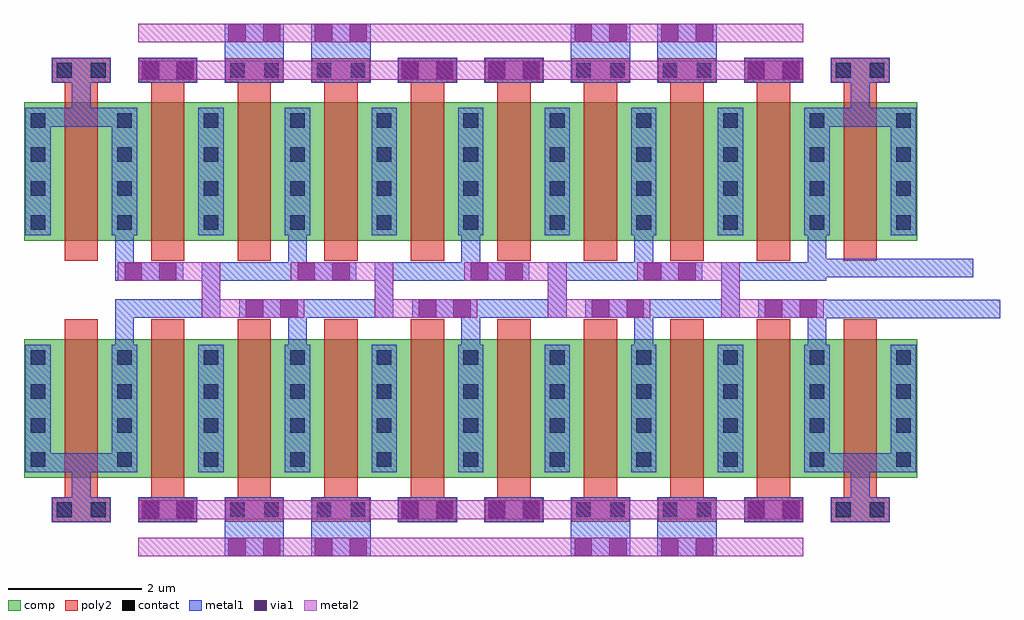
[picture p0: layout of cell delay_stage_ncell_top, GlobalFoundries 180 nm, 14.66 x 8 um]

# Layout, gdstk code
from math import pi, radians
import gdstk
lib = gdstk.Library(unit=1e-6, precision=5e-09)
def R(c, l, rs):  # rectangles x0, y0, x1, y1
    for r in rs: c.add(gdstk.rectangle(r[:2], r[2:], *l))
def A(c, l, x, y, w, h, nx, ny, dx, dy):  # array of equal rectangles
    R(c, l, [(x+i*dx, y+j*dy, x+i*dx+w, y+j*dy+h) for i in range(nx) for j in range(ny)])
comp = (22, 0)
poly2 = (30, 0)
contact = (33, 0)
metal1 = (34, 0)
via1 = (35, 0)
metal2 = (36, 0)

delay_stage_ncell_1_1_2 = lib.new_cell('delay_stage_ncell_1$1$2')
R(delay_stage_ncell_1_1_2, comp, [(0,0.3,0.42,2.38), (0.42,0.3,1.3,2.38), (1.3,0.3,1.72,2.38)])
R(delay_stage_ncell_1_1_2, poly2, [(0.61,0,1.11,2.68)])
A(delay_stage_ncell_1_1_2, contact, 0.1, 0.465, 0.22, 0.22, 1, 4, 0, 0.51)
A(delay_stage_ncell_1_1_2, contact, 1.4, 0.465, 0.22, 0.22, 1, 4, 0, 0.51)
R(delay_stage_ncell_1_1_2, metal1, [(0.02,0.385,0.4,2.295), (1.32,0.385,1.7,2.295)])

delay_stage_ncell_4_1 = lib.new_cell('delay_stage_ncell_4$1')
A(delay_stage_ncell_4_1, poly2, 0.425, 2.675, 0.87, 0.36, 4, 1, 1.3, 0)
R(delay_stage_ncell_4_1, contact, [(0.495,2.745,0.715,2.965), (1.005,2.745,1.225,2.965), (1.795,2.745,2.015,2.965), (2.305,2.745,2.525,2.965), (3.095,2.745,3.315,2.965), (3.605,2.745,3.825,2.965), (4.395,2.745,4.615,2.965), (4.905,2.745,5.125,2.965)])
A(delay_stage_ncell_4_1, metal1, 0.415, 2.665, 0.89, 0.38, 4, 1, 1.3, 0)
delay_stage_ncell_4_1.add(gdstk.Reference(delay_stage_ncell_1_1_2, (0,-0.005)))
delay_stage_ncell_4_1.add(gdstk.Reference(delay_stage_ncell_1_1_2, (1.3,-0.005)))
delay_stage_ncell_4_1.add(gdstk.Reference(delay_stage_ncell_1_1_2, (2.6,-0.005)))
delay_stage_ncell_4_1.add(gdstk.Reference(delay_stage_ncell_1_1_2, (3.9,-0.005)))

delay_stage_ncell_4_2 = lib.new_cell('delay_stage_ncell_4_2')
R(delay_stage_ncell_4_2, metal1, [(1.715,0,2.605,0.51), (3.015,0,3.905,0.51), (1.715,7.49,2.605,8), (3.015,7.49,3.905,8)])
R(delay_stage_ncell_4_2, via1, [(1.77,0.01,2.03,0.27), (2.29,0.01,2.55,0.27), (3.07,0.01,3.33,0.27), (3.59,0.01,3.85,0.27), (0.47,0.57,0.73,0.83), (0.99,0.57,1.25,0.83), (4.37,0.57,4.63,0.83), (4.89,0.57,5.15,0.83), (2.03,3.59,2.29,3.85), (2.55,3.59,2.81,3.85), (4.63,3.59,4.89,3.85), (5.15,3.59,5.41,3.85), (0.21,4.15,0.47,4.41), (0.73,4.15,0.99,4.41), (2.81,4.15,3.07,4.41), (3.33,4.15,3.59,4.41), (0.47,7.17,0.73,7.43), (0.99,7.17,1.25,7.43), (4.37,7.17,4.63,7.43), (4.89,7.17,5.15,7.43), (1.77,7.73,2.03,7.99), (2.29,7.73,2.55,7.99), (3.07,7.73,3.33,7.99), (3.59,7.73,3.85,7.99)])
delay_stage_ncell_4_2.add(gdstk.FlexPath([(2.81,4.825),(2.81,4.42)], 0.28, ends="flush", simple_path=True, layer=34, datatype=0))  # metal1
delay_stage_ncell_4_2.add(gdstk.FlexPath([(2.81,3.175),(2.81,3.58)], 0.28, ends="flush", simple_path=True, layer=34, datatype=0))  # metal1
delay_stage_ncell_4_2.add(gdstk.FlexPath([(0.21,3.175),(0.21,3.58)], 0.28, ends="flush", simple_path=True, layer=34, datatype=0))  # metal1
delay_stage_ncell_4_2.add(gdstk.FlexPath([(0.21,4.825),(0.21,4.42)], 0.28, ends="flush", simple_path=True, layer=34, datatype=0))  # metal1
delay_stage_ncell_4_2.add(gdstk.FlexPath([(2.91,4.28),(1.51,4.28),(1.51,3.72),(0.07,3.72)], 0.28, ends="flush", simple_path=True, layer=34, datatype=0))  # metal1
delay_stage_ncell_4_2.add(gdstk.FlexPath([(1.09,4.28),(0.07,4.28)], 0.28, ends="flush", simple_path=True, layer=34, datatype=0))  # metal1
delay_stage_ncell_4_2.add(gdstk.FlexPath([(5.41,3.175),(5.41,3.58)], 0.28, ends="flush", simple_path=True, layer=34, datatype=0))  # metal1
delay_stage_ncell_4_2.add(gdstk.FlexPath([(5.55,4.28),(4.11,4.28),(4.11,3.72),(2.71,3.72)], 0.28, ends="flush", simple_path=True, layer=34, datatype=0))  # metal1
delay_stage_ncell_4_2.add(gdstk.FlexPath([(3.69,4.28),(2.71,4.28)], 0.28, ends="flush", simple_path=True, layer=34, datatype=0))  # metal1
delay_stage_ncell_4_2.add(gdstk.FlexPath([(5.41,4.825),(5.41,4.42)], 0.28, ends="flush", simple_path=True, layer=34, datatype=0))  # metal1
delay_stage_ncell_4_2.add(gdstk.FlexPath([(2.81,3.175),(2.81,3.58)], 0.28, ends="flush", simple_path=True, layer=34, datatype=0))  # metal1
delay_stage_ncell_4_2.add(gdstk.FlexPath([(5.55,3.72),(4.53,3.72)], 0.28, ends="flush", simple_path=True, layer=34, datatype=0))  # metal1
delay_stage_ncell_4_2.add(gdstk.FlexPath([(2.81,4.825),(2.81,4.42)], 0.28, ends="flush", simple_path=True, layer=34, datatype=0))  # metal1
delay_stage_ncell_4_2.add(gdstk.FlexPath([(2.91,3.72),(1.93,3.72)], 0.28, ends="flush", simple_path=True, layer=34, datatype=0))  # metal1
delay_stage_ncell_4_2.add(gdstk.FlexPath([(2.91,3.72),(1.51,3.72),(1.51,4.28),(0.11,4.28)], 0.28, ends="flush", simple_path=True, layer=36, datatype=0))  # metal2
delay_stage_ncell_4_2.add(gdstk.FlexPath([(5.51,3.72),(4.11,3.72),(4.11,4.28),(2.71,4.28)], 0.28, ends="flush", simple_path=True, layer=36, datatype=0))  # metal2
delay_stage_ncell_4_2.add(gdstk.FlexPath([(5.41,0.7),(0.415,0.7)], 0.28, ends="flush", simple_path=True, layer=36, datatype=0))  # metal2
delay_stage_ncell_4_2.add(gdstk.FlexPath([(5.41,0.14),(0.415,0.14)], 0.28, ends="flush", simple_path=True, layer=36, datatype=0))  # metal2
delay_stage_ncell_4_2.add(gdstk.FlexPath([(5.41,7.3),(0.415,7.3)], 0.28, ends="flush", simple_path=True, layer=36, datatype=0))  # metal2
delay_stage_ncell_4_2.add(gdstk.FlexPath([(5.41,7.86),(0.415,7.86)], 0.28, ends="flush", simple_path=True, layer=36, datatype=0))  # metal2
delay_stage_ncell_4_2.add(gdstk.Reference(delay_stage_ncell_4_1, (0,4.445)))
delay_stage_ncell_4_2.add(gdstk.Reference(delay_stage_ncell_4_1, (0,3.555), x_reflection=True))

delay_stage_ncell_1_1_1 = lib.new_cell('delay_stage_ncell_1$1$1')
R(delay_stage_ncell_1_1_1, comp, [(0,0.3,0.42,2.38), (0.42,0.3,1.3,2.38), (1.3,0.3,1.72,2.38)])
R(delay_stage_ncell_1_1_1, poly2, [(0.61,0,1.11,2.68)])
A(delay_stage_ncell_1_1_1, contact, 0.1, 0.465, 0.22, 0.22, 1, 4, 0, 0.51)
A(delay_stage_ncell_1_1_1, contact, 1.4, 0.465, 0.22, 0.22, 1, 4, 0, 0.51)
R(delay_stage_ncell_1_1_1, metal1, [(0.02,0.385,0.4,2.295), (1.32,0.385,1.7,2.295)])

delay_stage_ncell_1_2 = lib.new_cell('delay_stage_ncell_1_2')
R(delay_stage_ncell_1_2, poly2, [(0.425,0.01,1.295,0.37), (0.425,6.61,1.295,6.97)])
R(delay_stage_ncell_1_2, contact, [(0.495,0.08,0.715,0.3), (1.005,0.08,1.225,0.3), (0.495,6.68,0.715,6.9), (1.005,6.68,1.225,6.9)])
R(delay_stage_ncell_1_2, metal1, [(0.415,0,1.305,0.38), (0.415,6.6,1.305,6.98)])
delay_stage_ncell_1_2.add(gdstk.FlexPath([(0.4,6.085),(1.32,6.085)], 0.28, ends="flush", simple_path=True, layer=34, datatype=0))  # metal1
delay_stage_ncell_1_2.add(gdstk.FlexPath([(0.86,6.6),(0.86,6.225)], 0.28, ends="flush", simple_path=True, layer=34, datatype=0))  # metal1
delay_stage_ncell_1_2.add(gdstk.FlexPath([(0.4,0.895),(1.32,0.895)], 0.28, ends="flush", simple_path=True, layer=34, datatype=0))  # metal1
delay_stage_ncell_1_2.add(gdstk.FlexPath([(0.86,0.38),(0.86,0.755)], 0.28, ends="flush", simple_path=True, layer=34, datatype=0))  # metal1
delay_stage_ncell_1_2.add(gdstk.Reference(delay_stage_ncell_1_1_1, (0,3.93)))
delay_stage_ncell_1_2.add(gdstk.Reference(delay_stage_ncell_1_1_1, (0,3.05), x_reflection=True))

delay_stage_ncell_top = lib.new_cell('delay_stage_ncell_top')
delay_stage_ncell_top.add(gdstk.FlexPath([(10.92,4.48),(13.125,4.48)], 0.28, ends="flush", simple_path=True, layer=34, datatype=0))  # metal1
delay_stage_ncell_top.add(gdstk.FlexPath([(10.88,3.865),(13.53,3.865)], 0.28, ends="flush", simple_path=True, layer=34, datatype=0))  # metal1
delay_stage_ncell_top.add(gdstk.Reference(delay_stage_ncell_4_2, (0.17,0.15)))
delay_stage_ncell_top.add(gdstk.Reference(delay_stage_ncell_4_2, (10.99,8.15), rotation=pi))
delay_stage_ncell_top.add(gdstk.Reference(delay_stage_ncell_1_2, (10.57,0.66)))
delay_stage_ncell_top.add(gdstk.Reference(delay_stage_ncell_1_2, (-1.13,0.66)))

lib.write_gds('delay_stage_ncell_top.gds')
